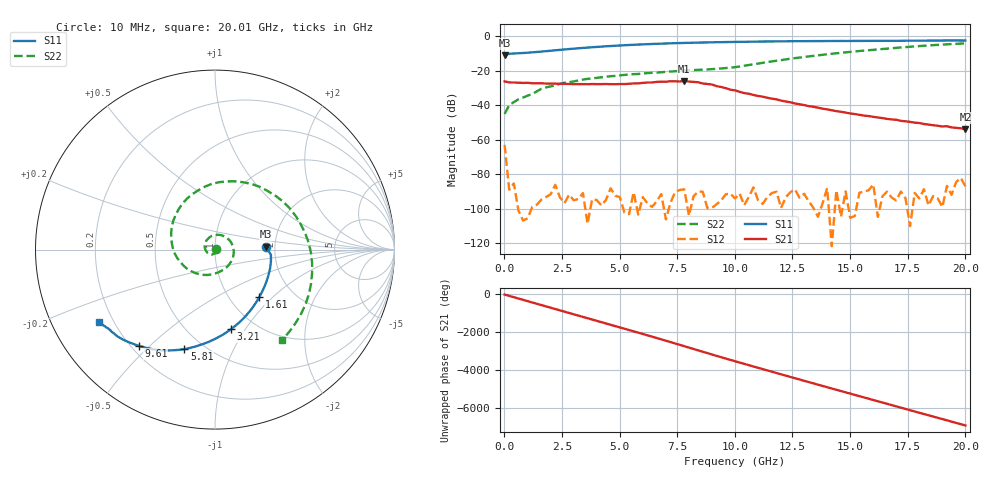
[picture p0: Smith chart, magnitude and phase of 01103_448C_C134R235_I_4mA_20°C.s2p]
!;Filter: kein Filter
!auto
!3/21/2019 9:25:24 AM
!3/21/2019 9:25:40 AM
!SP-Measurements Prober G4
!SP-Measurements Prober G4
!134
!235
!12
!20
!-20
!0.00399976
!1.88
!0.54220246
!0.54220246
# Hz S  RI  R 50
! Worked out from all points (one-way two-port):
!   101 points, 10 MHz to 20.01 GHz, reference 50 ohm
!   highest |S21| = -25.84 dB at 7.81 GHz (marker M1); lowest = -53.8 dB at 20.01 GHz (marker M2)
!   lowest |S11| = -11.0 dB at 10 MHz (marker M3), VSWR 1.79, Z = 89.3 + j3.05 ohm
!   |S11| at or under -10 dB: start of sweep to 326.1 MHz
!   |S22| runs from -45.0 to -4.1 dB; largest |S21 - S12| = 0.051
!   S11 on the Smith chart (normalised r, x): 10 MHz: 1.79, +0.06; 1.61 GHz: 1.36, -0.83; 3.21 GHz: 0.78, -0.86; 5.81 GHz: 0.40, -0.66; 9.61 GHz: 0.23, -0.46; 20.01 GHz: 0.15, -0.28
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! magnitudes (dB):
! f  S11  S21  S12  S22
! 10 MHz  -11.0  -26.1  -63.0  -45.0
! 210 MHz  -10.1  -26.7  -89.0  -39.9
! 610 MHz  -9.8  -26.9  -101.0  -36.6
! 1.21 GHz  -9.3  -27.2  -99.0  -33.5
! 1.61 GHz  -8.8  -27.2  -94.7  -30.4
! 2.61 GHz  -7.6  -27.6  -96.8  -26.9
! 3.21 GHz  -6.9  -27.7  -94.4  -25.6
! 3.41 GHz  -6.7  -27.7  -91.0  -25.1
! 4.41 GHz  -5.8  -27.7  -94.9  -23.4
! 5.81 GHz  -4.7  -27.3  -103.4  -21.8
! 6.81 GHz  -4.2  -26.3  -91.5  -20.8
! 7.81 GHz  -3.8  -25.8  -88.8  -19.9
! 9.01 GHz  -3.4  -27.9  -99.5  -19.0
! 9.61 GHz  -3.3  -30.1  -91.7  -18.4
! 10.01 GHz  -3.2  -31.3  -94.1  -17.9
! 11.01 GHz  -3.0  -34.6  -95.1  -15.8
! 13.41 GHz  -2.7  -40.9  -99.5  -11.3
! 15.01 GHz  -2.7  -44.7  -105.3  -9.0
! 16.81 GHz  -2.5  -48.2  -93.6  -6.9
! 19.01 GHz  -2.4  -52.3  -99.0  -4.8
! 19.21 GHz  -2.4  -52.1  -86.8  -4.6
! 20.01 GHz  -2.4  -53.8  -87.0  -4.1
